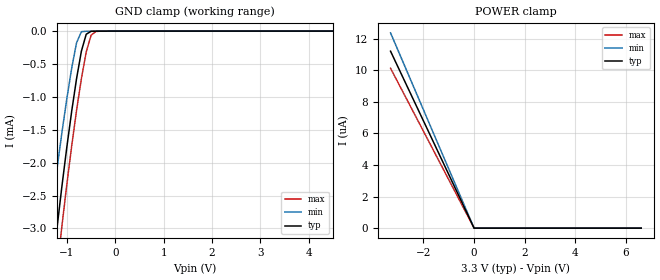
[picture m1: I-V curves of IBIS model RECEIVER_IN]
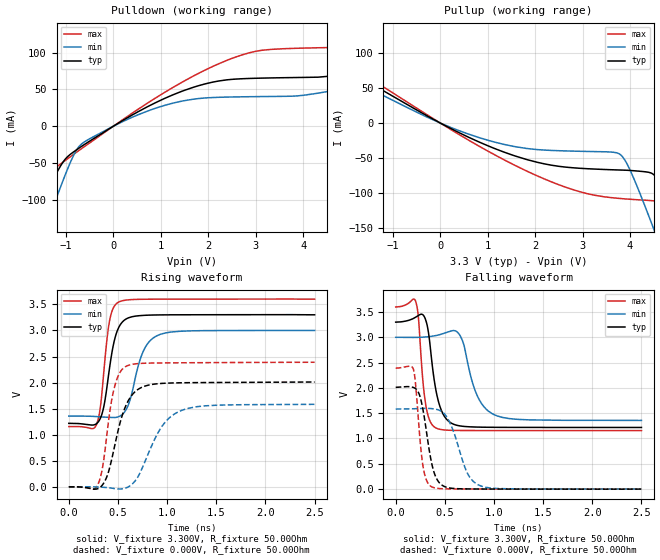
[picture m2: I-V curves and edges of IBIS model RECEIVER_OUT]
|Texas Instruments Incorporated
|High-Speed Differential Line Driver/Receivers
|Receiver Models valid upto signaling rate 400Mbps
|SN65LVDT2DBV   2.4V to 3.6V   SOT23-5   SACI
|SN65LVDT2D   2.4V to 3.6V   SOIC-8   LVDT2
[IBIS Ver]   4.0
[File name]   sn65lvdt2.ibs
[File Rev]   2.2
[Date]   11/11/2008
[Source]   Texas Instruments Incorporated.
   Analog-eLab, HPA
   12500 TI Blvd
   Dallas, TX -75243
   For Support e-mail: elab_ibis@list.ti.com
[Notes]   Revision History:
   1.0: 01/11/2000
   - Presilicon v2.1 model not matched to measurements
   1.1:
   - Model updated to v3.2 model, not matched to measurements
   2.0: 10/01/2008
   - updated [pin] and [package] sections
   - ccomp updated on all models
   - ccomp matched to measurements
   - updated all buffer models
   - corrected RECEIVER_IN model to reflect series termination
   between input differential pair
   2.1: 10/31/2008
   - updated RECEIVER_IN and RECEVIER_OUT models
   - updated ccomp for all buffer models
   - added [series pin mapping] section for SN65LVDT2DBV part
   - RECEIVER_OUT lead times on V-T curves are corrected by using
   appropriate temperature settings to generate V-T data.
   Same temperature is used to generate I-V data for RECEIVER_IN model
   2.2: 11/10/2008
   - Model file v2.1 is the same as v2.2, generated from transistor level
   TISPICE simulations
   - Updated (Ambient temp is 25C typ, 85C min, -40C max) comment on
   series110 model
   - Updated Disclaimer
[Disclaimer]
 This product is designed as an aid for customers of Texas Instruments.
 No warranties, either expressed or implied, with respect to this third
 party software (if any) or with respect to its fitness for any
 particular purpose is claimed by Texas Instruments or the author. The
 software (if any) is provided solely on an "as is" basis. The entire
 risk as to its quality and performance is with the customer
[Copyright] (C) Copyright 2008 Texas Instruments Incorporated.
   All rights reserved.
[Component]   SN65LVDT2DBV
[Manufacturer]  Texas Instruments Incorporated
[Package]   |SOT23-5 package
|   typ   min   max
R_pkg   0.070   0.068   0.072
L_pkg   1.835nH   1.794nH   1.877nH
C_pkg   0.282pF   0.276pF   0.287pF
[Pin]   signal_name   model_name   R_pin   L_pin   C_pin
1   VCC   POWER   0.06984  1.82932nH  0.29132pF
2   GND   GND   0.00531  0.85671nH  0.22674pF
3   A   RECEIVER_IN   0.06756  1.79361nH  0.28738pF
4   B   RECEIVER_IN   0.06758  1.80143nH  0.27573pF
5   R   RECEIVER_OUT   0.07225  1.87703nH  0.28366pF
[Diff_pin]   inv_pin   vdiff   tdelay_typ   tdelay_min   tdelay_max
| The 'A' pin is Diff_pin and the 'B' pin is the inv_pin
3   4   0.100   0   NA   NA
[series pin mapping]  pin_2   model_name
3   4   series110
[Component]   SN65LVDT2D
[Manufacturer]  Texas Instruments Incorporated
[Package]   |SOIC-8 package
|   typ   min   max
R_pkg   0.080   0.072   0.087
L_pkg   2.320nH   2.199nH   2.441nH
C_pkg   0.444pF   0.414pF   0.475pF
[Pin]   signal_name   model_name   R_pin   L_pin   C_pin
1   B   RECEIVER_IN   0.07217  2.36390nH  0.47452pF
2   A   RECEIVER_IN   0.08733  2.44113nH  0.42529pF
3   NC   NC   0.00574  1.04573nH  0.33560pF
4   NC   NC   0.00697  1.30190nH  0.40176pF
5   GND   GND   0.09103  2.75580nH  0.49314pF
6   NC   NC   0.00574  1.04573nH  0.33560pF
7   R   RECEIVER_OUT   0.07533  2.19903nH  0.41431pF
8   VCC   POWER   0.07778  2.47700nH  0.48174pF
[Diff_pin]   inv_pin   vdiff   tdelay_typ   tdelay_min   tdelay_max
| The 'A' pin is Diff_pin and the 'B' pin is the inv_pin
2   1   0.100   0   NA   NA
[series pin mapping]  pin_2   model_name
2   1   series110
[Model]   series110
Model_type   Series
C_comp   0pF   0pF   0pF
[Voltage Range]   3.3V   3.0V   3.6V
[Pullup Reference]   3.3V   3.0V   3.6V
| Junction Temperature (Ambient temp is 25C typ, 85C min, -40C max)
[Temperature Range]   40.0   100.0   -40.0
[R series]   111   90   132
| Models and submodels in the file (3): series110 (Series), RECEIVER_IN (Input), RECEIVER_OUT (Output)
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[Model]   RECEIVER_IN
Model_type   Input
|Signals   A,B
Vinl =   1.15V
Vinh =   1.25V
|ccomp   typ   min   max
C_comp   5.419pF   5.176pF   5.651pF
[Voltage Range]   3.3V   3.0V   3.6V
[Pullup Reference]   3.3V   3.0V   3.6V
| Junction Temperature (Ambient temp is 25C typ, 85C min, -40C max)
[Temperature Range]   40.0   100   -40
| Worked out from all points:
|   GND clamp passes 1 mA (typ) near -0.86 V on its own axis
[GND Clamp]
|   Voltage   I(typ)   I(min)   I(max)
-3.3V     -23.81mA   -20.23mA   -25.57mA
-1.4V     -4.323mA   -3.256mA   -5.043mA
-1.3V     -3.628mA   -2.649mA   -4.309mA
-1.2V     -2.968mA   -2.073mA   -3.61mA
-1.1V     -2.345mA   -1.53mA    -2.949mA
-900mV    -1.217mA   -561.5uA   -1.744mA
-800mV    -723.7uA   -177.2uA   -1.207mA
-700mV    -305.4uA   -9.323uA   -723.1uA
-600mV    -47.91uA   -2.3uA     -318.1uA
-500mV    -3.255uA   -1.875uA   -64.19uA
-400mV    -1.398uA   -1.5uA     -5.211uA
6.6V      0A         0A         0A
[POWER Clamp]
|   Voltage   I(typ)   I(min)   I(max)
-3.3V     11.21uA    12.37uA    10.13uA
0V        8.182pA    7.377pA    29.76pA
100mV     0A         0A         0A
6.6V      0A         0A         0A
|   Receiver Output  MODEL
[Model]   RECEIVER_OUT
Model_type   Output
| Signals   R
Cref = 10pF   |Timing specification test load capacitance value
Rref = 1Mohm
| variable   typ   min   max
C_comp   3.098pF   3.014pF   3.164pF
[Model Spec]
|Timing spec test load voltage corners 0.45*VCC
Vmeas   1.485V   1.350V   1.620V
Vref   1.485V   1.350V   1.620V
| Junction Temperature (Ambient temp is 25C typ, 85C min, -40C max)
[Temperature Range]   40.0   100.0   -40.0
[Voltage range]   3.3V   3.0V   3.6V
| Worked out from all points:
|   slope of the pulldown table from 0 to 0.495 V, typ, clamps not added: 26.4 ohm
|   slope of the pullup table from 0 to 0.495 V, typ, clamps not added: 29.1 ohm
|   falling waveform, V_fixture 3.300V, R_fixture 50.00Ohm: 20-80 % time 102ps typ, 161ps min, 66.1ps max; typ from 3.3 V to 1.22 V
|   rising waveform, V_fixture 3.300V, R_fixture 50.00Ohm: 20-80 % time 108ps typ, 151ps min, 79.5ps max; typ from 1.22 V to 3.3 V
|   rising waveform, V_fixture 0.000V, R_fixture 50.00Ohm: 20-80 % time 173ps typ, 257ps min, 112ps max; typ from 0 V to 2.01 V
|   falling waveform, V_fixture 0.000V, R_fixture 50.00Ohm: 20-80 % time 106ps typ, 168ps min, 66.5ps max; typ from 2.01 V to 0 V
[Pulldown]
|   Voltage   I(typ)   I(min)   I(max)
-3.3V     -354.6mA   -490.5mA   -256.3mA
-2.183V   -195.8mA   -277.2mA   -137.1mA
-1.786V   -140.8mA   -203.1mA   -96.52mA
-1.489V   -100.6mA   -148.7mA   -70.37mA
-1.414V   -90.77mA   -135.3mA   -66.09mA
-1.042V   -47.03mA   -70.48mA   -47.99mA
-620.3mV  -25.3mA    -21.79mA   -28.21mA
893.2mV   32.09mA    24.5mA     38.51mA
2.233V    61.58mA    39.27mA    85.24mA
3.102V    65.32mA    40.23mA    103mA
4.689V    69.58mA    49.57mA    107.1mA
6.6V      109.8mA    89.94mA    135.4mA
[Pullup]
|   Voltage   I(typ)   I(min)   I(max)
-3.3V     129mA      117.7mA    138mA
0V        50.9pA     200.7pA    36.68pA
1.166V    -37.02mA   -27.63mA   -46.21mA
2.183V    -58.3mA    -38.66mA   -79.76mA
3.102V    -65.39mA   -40.66mA   -101.2mA
3.796V    -67.29mA   -45.18mA   -108.1mA
4.02V     -67.98mA   -70.13mA   -109.2mA
4.491V    -73.43mA   -150.2mA   -111.4mA
5.186V    -155.7mA   -278.1mA   -115.6mA
5.533V    -203.6mA   -343.7mA   -121.7mA
5.955V    -262.9mA   -424.3mA   -157.2mA
6.6V      -355mA     -549.1mA   -224.9mA
[Ramp]
R_load = 50.00Ohm
|   typ   min   max
dV/dt_r   1.207V/172.526ps 949.567mV/256.096ps   1.465V/83.650ps
dV/dt_f   1.249V/102.377ps 985.622mV/161.561ps   1.467V/66.149ps
[Falling Waveform]
V_fixture = 3.300V
V_fixture_min = 3.000V
V_fixture_max = 3.600V
R_fixture = 50.00Ohm
|   Time   V(typ)   V(min)   V(max)
0s        3.3V       3V         3.6V
205ps     3.4V       2.998V     3.7V
230ps     3.43V      2.999V     3.42V
305ps     3.344V     3.008V     1.677V
410ps     1.945V     3.035V     1.208V
495ps     1.439V     3.082V     1.169V
640ps     1.254V     3.077V     1.159V
835ps     1.225V     1.823V     1.157V
1.005ns   1.221V     1.468V     1.157V
2.5ns     1.218V     1.357V     1.156V
[Rising Waveform]
V_fixture = 3.300V
V_fixture_min = 3.000V
V_fixture_max = 3.600V
R_fixture = 50.00Ohm
|   Time   V(typ)   V(min)   V(max)
0s        1.218V     1.357V     1.156V
285ps     1.217V     1.348V     1.21V
320ps     1.312V     1.343V     1.516V
350ps     1.489V     1.339V     2.076V
410ps     2.223V     1.333V     3.138V
510ps     3.066V     1.349V     3.547V
605ps     3.24V      1.57V      3.587V
760ps     3.289V     2.611V     3.598V
905ps     3.298V     2.906V     3.6V
2.5ns     3.3V       3V         3.6V
[Rising Waveform]
V_fixture = 0.000V
V_fixture_min = 0.000V
V_fixture_max = 0.000V
R_fixture = 50.00Ohm
|   Time   V(typ)   V(min)   V(max)
0s        402.5pV    3.387nV    153.8pV
295ps     -35.4mV    -2.064mV   40.24mV
345ps     43.51mV    -7.598mV   392.9mV
420ps     399.7mV    -20.72mV   1.481V
460ps     730.5mV    -31.76mV   1.881V
585ps     1.578V     -18.2mV    2.314V
750ps     1.915V     375.6mV    2.37V
935ps     1.983V     1.125V     2.377V
1.13ns    1.996V     1.453V     2.38V
2.5ns     2.011V     1.583V     2.39V
[Falling Waveform]
V_fixture = 0.000V
V_fixture_min = 0.000V
V_fixture_max = 0.000V
R_fixture = 50.00Ohm
|   Time   V(typ)   V(min)   V(max)
0s        2.011V     1.583V     2.39V
180ps     2.008V     1.588V     2.37V
200ps     1.988V     1.589V     2.113V
275ps     1.596V     1.594V     490.3mV
315ps     1.107V     1.595V     166.5mV
370ps     475.6mV    1.59V      41.37mV
495ps     51.7mV     1.489V     5.378mV
730ps     3.297mV    313mV      1.523mV
875ps     1.257mV    55.46mV    1.157mV
2.5ns     402.5pV    3.387nV    153.8pV
